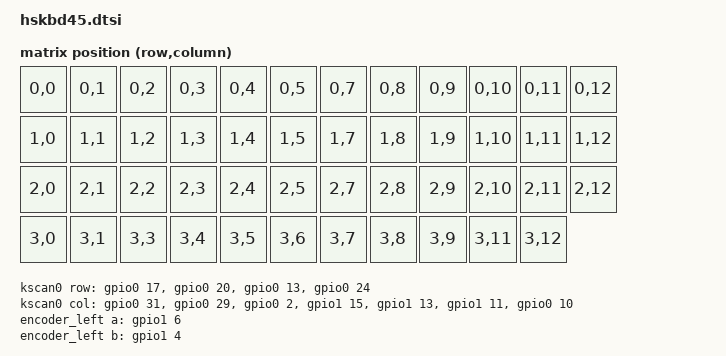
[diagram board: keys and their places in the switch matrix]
#include <dt-bindings/zmk/matrix_transform.h>

/ {
    chosen {
        zmk,kscan = &kscan0;
        zmk,matrix-transform = &default_transform;
    };

    default_transform: keymap_transform_0 {
        compatible = "zmk,matrix-transform";
        columns = <14>;
        rows = <4>;
        map = <
            RC(0,0)  RC(0,1)  RC(0,2)  RC(0,3)  RC(0,4)  RC(0,5)   RC(0,7)  RC(0,8)  RC(0,9)  RC(0,10) RC(0,11) RC(0,12)
            RC(1,0)  RC(1,1)  RC(1,2)  RC(1,3)  RC(1,4)  RC(1,5)   RC(1,7)  RC(1,8)  RC(1,9)  RC(1,10) RC(1,11) RC(1,12)
            RC(2,0)  RC(2,1)  RC(2,2)  RC(2,3)  RC(2,4)  RC(2,5)   RC(2,7)  RC(2,8)  RC(2,9)  RC(2,10) RC(2,11) RC(2,12)
            RC(3,0)  RC(3,1)  RC(3,3)  RC(3,4)  RC(3,5)  RC(3,6)   RC(3,7)  RC(3,8)  RC(3,9)  RC(3,11) RC(3,12)
        >;
    };

    kscan0: kscan {
        compatible = "zmk,kscan-gpio-matrix";
        diode-direction = "col2row";
        wakeup-source;

        /*
         * QMK pin → nice!nano nRF pin
         * F4 → P0.31, F5 → P0.29, F6 → P0.02, F7 → P1.15
         * B1 → P1.13, B3 → P1.11, B2 → P0.10
         */
        col-gpios
            = <&gpio0 31 GPIO_ACTIVE_HIGH>  /* F4 */
            , <&gpio0 29 GPIO_ACTIVE_HIGH>  /* F5 */
            , <&gpio0  2 GPIO_ACTIVE_HIGH>  /* F6 */
            , <&gpio1 15 GPIO_ACTIVE_HIGH>  /* F7 */
            , <&gpio1 13 GPIO_ACTIVE_HIGH>  /* B1 */
            , <&gpio1 11 GPIO_ACTIVE_HIGH>  /* B3 */
            , <&gpio0 10 GPIO_ACTIVE_HIGH>  /* B2 */
            ;

        /*
         * D4 → P0.17, C6 → P0.20, D7 → P0.13, E6 → P0.24
         * (nice!nano v2 対応値)
         */
        row-gpios
            = <&gpio0 17 (GPIO_ACTIVE_HIGH | GPIO_PULL_DOWN)>  /* D4 */
            , <&gpio0 20 (GPIO_ACTIVE_HIGH | GPIO_PULL_DOWN)>  /* C6 */
            , <&gpio0 13 (GPIO_ACTIVE_HIGH | GPIO_PULL_DOWN)>  /* D7 */
            , <&gpio0 24 (GPIO_ACTIVE_HIGH | GPIO_PULL_DOWN)>  /* E6 */
            ;
    };

    encoder_left: encoder_left {
        compatible = "alps,ec11";
        /* B4 → P1.06 (nice!nano v2), B5 → P1.04 */
        a-gpios = <&gpio1  6 (GPIO_ACTIVE_HIGH | GPIO_PULL_UP)>;  /* B4 */
        b-gpios = <&gpio1  4 (GPIO_ACTIVE_HIGH | GPIO_PULL_UP)>;  /* B5 */
        steps = <80>;
        status = "disabled";
    };

    sensors: sensors {
        compatible = "zmk,keymap-sensors";
        sensors = <&encoder_left>;
        triggers-per-rotation = <20>;
    };
};
